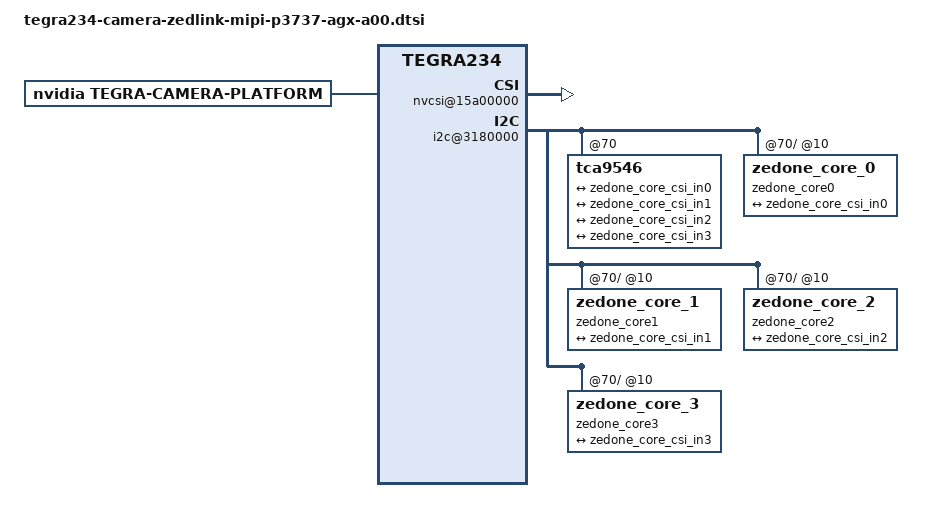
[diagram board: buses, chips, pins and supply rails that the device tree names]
// SPDX-License-Identifier: GPL-2.0-only
// SPDX-FileCopyrightText: Copyright (c) 2023-2024, NVIDIA CORPORATION & AFFILIATES. All rights reserved.

#define NUM_LANES 4

#include "Utils/ar0234-sl-modes.dtsi"

/ {
#ifdef BUILDOVERLAY
	fragment-camera-zedx-zedlink-mipi@0 {
		target-path = "/";
		__overlay__ {
#endif
			tegra-capture-vi {
				num-channels = <4>;
				status = "okay";
				ports {
					#address-cells = <1>;
					#size-cells = <0>;
					status = "okay";
					port@0 {
						reg = <0>;
						status = "okay";
						zedone_core_vi_in0: endpoint {
							status = "okay";
							vc-id = <0>;
							port-index = <0>;
							bus-width = <4>;
							remote-endpoint = <&zedone_core_csi_out0>;
						};
					};
					port@1 {
						reg = <1>;
						status = "okay";
						zedone_core_vi_in1: endpoint {
							status = "okay";
							vc-id = <0>;
							port-index = <2>;
							bus-width = <4>;
							remote-endpoint = <&zedone_core_csi_out1>;
						};
					};
					port@2 {
						reg = <2>;
						status = "okay";
						zedone_core_vi_in2: endpoint {
							status = "okay";
							vc-id = <0>;
							port-index = <4>;
							bus-width = <4>;
							remote-endpoint = <&zedone_core_csi_out2>;
						};
					};
					port@3 {
						reg = <3>;
						status = "okay";
						zedone_core_vi_in3: endpoint {
							status = "okay";
							vc-id = <0>;
							port-index = <5>;
							bus-width = <4>;
							remote-endpoint = <&zedone_core_csi_out3>;
						};
					};
				};
			};
			bus@0 {
				host1x@13e00000 {
					nvcsi@15a00000 {
						num-channels = <4>;
						#address-cells = <1>;
						#size-cells = <0>;
						status = "okay";
						channel@0 {
							reg = <0>;
							status = "okay";
							ports {
								#address-cells = <1>;
								#size-cells = <0>;
								status = "okay";
								port@0 {
									reg = <0>;
									status = "okay";
									zedone_core_csi_in0: endpoint@0 {
										status = "okay";
										port-index = <0>;
										bus-width = <4>;
										remote-endpoint = <&zedone_core_out0>;
									};
								};
								port@1 {
									reg = <1>;
									status = "okay";
									zedone_core_csi_out0: endpoint@1 {
										status = "okay";
										remote-endpoint = <&zedone_core_vi_in0>;
									};
								};
							};
						};
						channel@1 {
							reg = <1>;
							status = "okay";
							ports {
								#address-cells = <1>;
								#size-cells = <0>;
								status = "okay";
								port@0 {
									reg = <0>;
									status = "okay";
									zedone_core_csi_in1: endpoint@2 {
										status = "okay";
										port-index = <2>;
										bus-width = <4>;
										remote-endpoint = <&zedone_core_out1>;
									};
								};
								port@1 {
									reg = <1>;
									status = "okay";
									zedone_core_csi_out1: endpoint@3 {
										status = "okay";
										remote-endpoint = <&zedone_core_vi_in1>;
									};
								};
							};
						};
						channel@2 {
							reg = <2>;
							status = "okay";
							ports {
								#address-cells = <1>;
								#size-cells = <0>;
								status = "okay";
								port@0 {
									reg = <0>;
									status = "okay";
									zedone_core_csi_in2: endpoint@4 {
										status = "okay";
										port-index = <4>;
										bus-width = <4>;
										remote-endpoint = <&zedone_core_out2>;
									};
								};
								port@1 {
									reg = <1>;
									status = "okay";
									zedone_core_csi_out2: endpoint@5 {
										status = "okay";
										remote-endpoint = <&zedone_core_vi_in2>;
									};
								};
							};
						};
						channel@3 {
							reg = <3>;
							status = "okay";
							ports {
								#address-cells = <1>;
								#size-cells = <0>;
								status = "okay";
								port@0 {
									reg = <0>;
									status = "okay";
									zedone_core_csi_in3: endpoint@6 {
										status = "okay";
										port-index = <6>;
										bus-width = <4>;
										remote-endpoint = <&zedone_core_out3>;
									};
								};
								port@1 {
									reg = <1>;
									status = "okay";
									zedone_core_csi_out3: endpoint@7 {
										status = "okay";
										remote-endpoint = <&zedone_core_vi_in3>;
									};
								};
							};
						};
					};
				};

				i2c@3180000 {
					tca9546@70 {
							i2c@0 {
								zedone_core0: zedone_core_0@10 {

									devnode = "video0";

									sync_sensor = "ZEDXONE_CAM0";
									sync_sensor_index = <1>;

									AR0234_MODES("0", "serial_a", "0")

									ports {
										#address-cells = <1>;
										#size-cells = <0>;
										port@0 {
											reg = <0>;
											zedone_core_out0: endpoint {
												vc-id = <0>;
												port-index = <0>;
												opt-csi-port = "d";
												bus-width = <4>;
												i2c-cc = <0>;
												remote-endpoint = <&zedone_core_csi_in0>;
											};
										};
									};
								};
							};
							i2c@1 {
								zedone_core1: zedone_core_1@10 {

									devnode = "video1";

									sync_sensor = "ZEDXONE_CAM1";
									sync_sensor_index = <1>;

									AR0234_MODES("0", "serial_c", "0")

									ports {
										#address-cells = <1>;
										#size-cells = <0>;
										port@0 {
											reg = <0>;
											zedone_core_out1: endpoint {
												vc-id = <0>;
												port-index = <2>;
												opt-csi-port = "d";
												bus-width = <4>;
												i2c-cc = <0>;
												remote-endpoint = <&zedone_core_csi_in1>;
											};
										};
									};
								};
							};
							i2c@2 {
								zedone_core2: zedone_core_2@10 {

									devnode = "video2";

									sync_sensor = "ZEDXONE_CAM2";
									sync_sensor_index = <1>;

									AR0234_MODES("0", "serial_e", "0")

									ports {
										#address-cells = <1>;
										#size-cells = <0>;
										port@0 {
											reg = <0>;
											zedone_core_out2: endpoint {
												vc-id = <0>;
												port-index = <4>;
												opt-csi-port = "d";
												bus-width = <4>;
												i2c-cc = <0>;
												remote-endpoint = <&zedone_core_csi_in2>;
											};
										};
									};
								};
							};
							i2c@3 {
								zedone_core3: zedone_core_3@10 {

									devnode = "video3";

									sync_sensor = "ZEDXONE_CAM3";
									sync_sensor_index = <1>;

									AR0234_MODES("0", "serial_g", "0")

									ports {
										#address-cells = <1>;
										#size-cells = <0>;
										port@0 {
											reg = <0>;
											zedone_core_out3: endpoint {
												vc-id = <0>;
												port-index = <6>;
												opt-csi-port = "d";
												bus-width = <4>;
												i2c-cc = <0>;
												remote-endpoint = <&zedone_core_csi_in3>;
											};
										};
									};
								};
							};
					};
				};
			};
			tegra-camera-platform {
				compatible = "nvidia, tegra-camera-platform";
				/**
				* Physical settings to calculate max ISO BW
				*
				* num_csi_lanes = <>;
				* Total number of CSI lanes when all cameras are active
				*
				* max_lane_speed = <>;
				* Max lane speed in Kbit/s
				*
				* min_bits_per_pixel = <>;
				* Min bits per pixel
				*
				* vi_peak_byte_per_pixel = <>;
				* Max byte per pixel for the VI ISO case
				*
				* vi_bw_margin_pct = <>;
				* Vi bandwidth margin in percentage
				*
				* max_pixel_rate = <>;
				* Max pixel rate in Kpixel/s for the ISP ISO case
				*
				* isp_peak_byte_per_pixel = <>;
				* Max byte per pixel for the ISP ISO case
				*
				* isp_bw_margin_pct = <>;
				* Isp bandwidth margin in percentage
				*/
				num_csi_lanes = <16>;
				max_lane_speed = <2000000>;
				min_bits_per_pixel = <8>;
				vi_peak_byte_per_pixel = <2>;
				vi_bw_margin_pct = <25>;
				isp_peak_byte_per_pixel = <5>;
				isp_bw_margin_pct = <25>;
				
				/**
				* The general guideline for naming badge_info contains 3 parts, and is as follows,
				* The first part is the camera_board_id for the module; if the module is in a FFD
				* platform, then use the platform name for this part.
				* The second part contains the position of the module, ex. "rear" or "front".
				* The third part contains the last 6 characters of a part number which is found
				* in the module's specsheet from the vender.
				*/
				modules {
					module0 {
						badge = "zedx_ar0234";
						position = "front";
						orientation = "1";
						status = "okay";
						drivernode1 { status = "disabled"; };
						drivernode0 {
							status = "okay";
							/* Declare PCL support driver (classically known as guid)  */
							pcl_id = "v4l2_sensor";
							devname = "zedx 9-0010";
							/* Declare the device-tree hierarchy to driver instance */
							sysfs-device-tree = "/sys/firmware/devicetree/base/bus@0/i2c@3180000/tca9546@70/i2c@0/zedone_core_0@10";
						};
					};
					module1 {
						badge = "zedx_ar0234";
						position = "rear";
						orientation = "1";
						status = "okay";
						drivernode1 { status = "disabled"; };
						drivernode0 {
							status = "okay";
							/* Declare PCL support driver (classically known as guid)  */
							pcl_id = "v4l2_sensor";
							devname = "zedx 10-0010";
							/* Declare the device-tree hierarchy to driver instance */
							sysfs-device-tree = "/sys/firmware/devicetree/base/bus@0/i2c@3180000/tca9546@70/i2c@1/zedone_core_1@10";
						};
					};
					module2 {
						badge = "zedx_ar0234";
						position = "centerleft";
						orientation = "1";
						status = "okay";
						drivernode1 { status = "disabled"; };
						drivernode0 {
							status = "okay";
							/* Declare PCL support driver (classically known as guid)  */
							pcl_id = "v4l2_sensor";
							devname = "zedx 11-0010";
							/* Declare the device-tree hierarchy to driver instance */
							sysfs-device-tree = "/sys/firmware/devicetree/base/bus@0/i2c@3180000/tca9546@70/i2c@2/zedone_core_2@10";
						};
					};
					module3 {
						badge = "zedx_ar0234";
						position = "centerright";
						orientation = "1";
						status = "okay";
						drivernode1 { status = "disabled"; };
						drivernode0 {
							status = "okay";
							/* Declare PCL support driver (classically known as guid)  */
							pcl_id = "v4l2_sensor";
							devname = "zedx 12-0010";
							/* Declare the device-tree hierarchy to driver instance */
							sysfs-device-tree = "/sys/firmware/devicetree/base/bus@0/i2c@3180000/tca9546@70/i2c@3/zedone_core_3@10";
						};
					};
					module4 {
						status = "okay";
					};
					module5 {
						status = "okay";
					};
					module6 {
						status = "okay";
					};
					module7 {
						status = "okay";
					};
				};
			};
#ifdef BUILDOVERLAY
		};
	};
#endif
};
